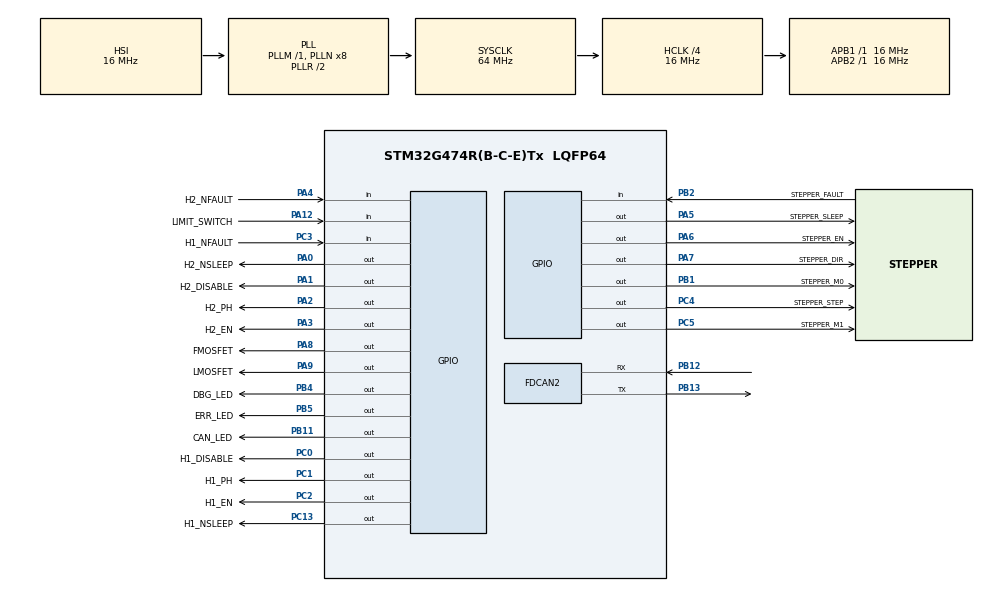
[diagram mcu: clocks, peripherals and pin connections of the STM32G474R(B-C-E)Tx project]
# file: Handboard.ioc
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FDCAN2.AutoRetransmission=ENABLE
FDCAN2.CalculateBaudRateNominal=125000
FDCAN2.CalculateTimeBitNominal=8000
FDCAN2.CalculateTimeQuantumNominal=250.0
FDCAN2.NominalPrescaler=4
FDCAN2.NominalSyncJumpWidth=4
FDCAN2.NominalTimeSeg1=27
FDCAN2.NominalTimeSeg2=4
FDCAN2.StdFiltersNbr=4
Mcu.Family=STM32G4
Mcu.Name=STM32G474R(B-C-E)Tx
Mcu.Package=LQFP64
NVIC.PriorityGroup=NVIC_PRIORITYGROUP_4
NVIC.TIM3_IRQn=true\:0\:0\:false\:false\:true\:true\:true\:true
PA0.GPIO_Label=H2_NSLEEP
PA0.Signal=GPIO_Output
PA1.GPIO_Label=H2_DISABLE
PA1.Signal=GPIO_Output
PA12.GPIO_Label=LIMIT_SWITCH
PA12.Signal=GPIO_Input
PA13.Mode=Serial_Wire
PA13.Signal=SYS_JTMS-SWDIO
PA14.Mode=Serial_Wire
PA14.Signal=SYS_JTCK-SWCLK
PA2.GPIO_Label=H2_PH
PA2.Signal=GPIO_Output
PA3.GPIO_Label=H2_EN
PA3.Signal=GPIO_Output
PA4.GPIO_Label=H2_NFAULT
PA4.GPIO_PuPd=GPIO_PULLUP
PA4.Signal=GPIO_Input
PA5.GPIO_Label=STEPPER_SLEEP
PA5.Signal=GPIO_Output
PA6.GPIO_Label=STEPPER_EN
PA6.Signal=GPIO_Output
PA7.GPIO_Label=STEPPER_DIR
PA7.Signal=GPIO_Output
PA8.GPIO_Label=FMOSFET
PA8.Signal=GPIO_Output
PA9.GPIO_Label=LMOSFET
PA9.Signal=GPIO_Output
PB1.GPIO_Label=STEPPER_M0
PB1.Signal=GPIO_Output
PB11.GPIO_Label=CAN_LED
PB11.PinState=GPIO_PIN_SET
PB11.Signal=GPIO_Output
PB12.Mode=FDCAN_Activate
PB12.Signal=FDCAN2_RX
PB13.Mode=FDCAN_Activate
PB13.Signal=FDCAN2_TX
PB2.GPIO_Label=STEPPER_FAULT
PB2.GPIO_PuPd=GPIO_PULLUP
PB2.Signal=GPIO_Input
PB4.GPIO_Label=DBG_LED
PB4.Signal=GPIO_Output
PB5.GPIO_Label=ERR_LED
PB5.Signal=GPIO_Output
PC0.GPIO_Label=H1_DISABLE
PC0.Signal=GPIO_Output
PC1.GPIO_Label=H1_PH
PC1.Signal=GPIO_Output
PC13.GPIO_Label=H1_NSLEEP
PC13.Signal=GPIO_Output
PC2.GPIO_Label=H1_EN
PC2.Signal=GPIO_Output
PC3.GPIO_Label=H1_NFAULT
PC3.GPIO_PuPd=GPIO_PULLUP
PC3.Signal=GPIO_Input
PC4.GPIO_Label=STEPPER_STEP
PC4.Signal=GPIO_Output
PC5.GPIO_Label=STEPPER_M1
PC5.Signal=GPIO_Output
ProjectManager.HeapSize=0x200
ProjectManager.StackSize=0x400
ProjectManager.TargetToolchain=STM32CubeIDE
RCC.ADC12Freq_Value=64000000
RCC.ADC345Freq_Value=64000000
RCC.AHBCLKDivider=RCC_SYSCLK_DIV4
RCC.AHBFreq_Value=16000000
RCC.APB1Freq_Value=16000000
RCC.APB1TimFreq_Value=16000000
RCC.APB2Freq_Value=16000000
RCC.APB2TimFreq_Value=16000000
RCC.CortexFreq_Value=16000000
RCC.EXTERNAL_CLOCK_VALUE=12288000
RCC.HCLKFreq_Value=16000000
RCC.HSE_VALUE=8000000
RCC.HSI48_VALUE=48000000
RCC.HSI_VALUE=16000000
RCC.LSE_VALUE=32768
RCC.SYSCLKFreq_VALUE=64000000
RCC.SYSCLKSource=RCC_SYSCLKSOURCE_PLLCLK
RCC.USBFreq_Value=64000000
RCC.VCOOutputFreq_Value=128000000
TIM3.PeriodNoDither=499
TIM3.Prescaler=15
VP_SYS_VS_DBSignals.Mode=DisableDeadBatterySignals
VP_TIM3_VS_ClockSourceINT.Mode=Internal
board=custom

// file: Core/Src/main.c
/* USER CODE BEGIN Header */
/**
 ******************************************************************************
 * @file           : main.c
 * @brief          : Main program body
 ******************************************************************************
 * @attention
 *
 * Copyright (c) 2026 STMicroelectronics.
 * All rights reserved.
 *
 * This software is licensed under terms that can be found in the LICENSE file
 * in the root directory of this software component.
 * If no LICENSE file comes with this software, it is provided AS-IS.
 *
 ******************************************************************************
 */
/* USER CODE END Header */
#include "main.h"

/* USER CODE BEGIN Includes */
#include "../../Libraries/CAN26/CAN26.h"
/* USER CODE END Includes */

/* USER CODE BEGIN PD */
#define HEARTBEAT_INTERVAL_MS 500

#define STEP_TIM      htim3
#define STEPPER_WAKE_DELAY_MS 2     // DRV8425 wakes in 1.2 ms max
#define SLEEP_TIMEOUT_MS      1000

/* Need to verify the timeout ms amount */
#define HEARTBEAT_INTERVAL_MS 500

#define STEP_TIM              htim3
#define STEPPER_WAKE_DELAY_MS 2     // DRV8425 wakes in 1.2 ms max
#define SLEEP_TIMEOUT_MS      1000

/* Need to verify the timeout ms amount */
#define CAN_TIMEOUT_MS        1000
#define ACTUATOR_TIMEOUT_MS   500
#define LIMIT_SWITCH_DEBOUNCE_MS 50

#define DIR_OPEN      GPIO_PIN_SET
#define DIR_CLOSE     GPIO_PIN_RESET
#define STEPS_PER_REV 200  // placeholder: full steps per rev x microstep setting

#define MOTOR_ENABLE_LEVEL  GPIO_PIN_SET
#define MOTOR_DISABLE_LEVEL GPIO_PIN_RESET

#define LIMIT_SWITCH_PRESSED GPIO_PIN_SET

#define LASERS_PERIPH_ID    0x01
#define ACTUATOR1_PERIPH_ID 0x02
#define ACTUATOR2_PERIPH_ID 0x03
#define FLASLIGHT_PERIPH_ID 0x04

/* Old actuator pin defines for reference
 * I redid the pinout to match Altium, so CubeMX generates these pins in
 * main.h now as H1_* and H2_* (like H2_NSLEEP_Pin). Use those names whem
 * you rewrite the actuator functions.
 *
 * ACTUATOR1 was on PA0 to PA4, which the schematic calls H bridge 2,
 * and ACTUATOR2 was on PC13 and PC0 to PC3, which is H bridge 1.
 * Can you double check which actuator goes to which H bridge?
 *
 * #define ACTUATOR1_NSLEEP    GPIO_PIN_0
 * #define ACTUATOR1_DISABLE   GPIO_PIN_1
 * #define ACTUATOR1_PH        GPIO_PIN_2
 * #define ACTUATOR1_EN        GPIO_PIN_3
 * #define ACTUATOR1_NFAULT    GPIO_PIN_4
 * #define ACTUATOR1_PORT      GPIOA
 *
 * #define ACTUATOR2_NSLEEP    GPIO_PIN_13
 * #define ACTUATOR2_DISABLE   GPIO_PIN_0
 * #define ACTUATOR2_PH        GPIO_PIN_1
 * #define ACTUATOR2_EN        GPIO_PIN_2
 * #define ACTUATOR2_NFAULT    GPIO_PIN_3
 * #define ACTUATOR2_PORT      GPIOC
 */

/* USER CODE END PD */

FDCAN_HandleTypeDef hfdcan2;

TIM_HandleTypeDef htim3;

/* USER CODE BEGIN PV */
CANHandle_t CANHandle = &hfdcan2;
CANDevice_t thisCANDevice = { .peripheralDomain = 1, .powerDomain = 0,
		.motorDomain = 1, .deviceUUID = CAN_UUID_HAND };

CANDevice_t jetson = { .peripheralDomain = 0, .powerDomain = 0,
		.motorDomain = 0, .deviceUUID = CAN_UUID_JETSON };

const char *fwName = "hand";
uint16_t revision = 4;
CANPacket_t rxPacket;
CANPacket_t txPacket;

uint32_t last_heartbeat_time = 0;
uint32_t can_led_off_time = 0;

uint32_t last_can_rx_time = 0;
uint8_t can_timeout_active = 0;

uint32_t motor_enable_time = 0;
uint8_t motor_enabled = 0;

uint32_t actuator1_enable_time = 0;
uint8_t actuator1_active = 0;

uint32_t actuator2_enable_time = 0;
uint8_t actuator2_active = 0;

static uint8_t limit_triggered = 0;
static uint32_t limit_debounce_time = 0;
static volatile uint32_t steps_remaining = 0;

/* USER CODE END PV */

void SystemClock_Config(void);
static void MX_GPIO_Init(void);
static void MX_FDCAN2_Init(void);
static void MX_TIM3_Init(void);
/* USER CODE BEGIN PFP */
void Send_Heartbeat(void);
void Send_LimitSwitch_Alert(void);

void Stepper_On(int32_t steps);
void Stepper_Brake(void);
void Stepper_Sleep(void);

void Lasers_On(void);
void Lasers_Off(void);

void Flaslight_On(void);
void Flaslight_Off(void);

void Actuator1_Forward(void);
void Actuator1_Reverse(void);
void Actuator1_Brake(void);
void Actuator1_Off(void);

void Actuator2_Forward(void);
void Actuator2_Reverse(void);
void Actuator2_Brake(void);
void Actuator2_Off(void);

/* USER CODE END PFP */

int main(void) {

	/* MCU Configuration--------------------------------------------------------*/

	/* Reset of all peripherals, Initializes the Flash interface and the Systick. */
	HAL_Init();

	/* Configure the system clock */
	SystemClock_Config();

	/* Initialize all configured peripherals */
	MX_GPIO_Init();
	MX_FDCAN2_Init();
	MX_TIM3_Init();
	/* USER CODE BEGIN 2 */

	CANInit(CANHandle, &thisCANDevice);
	HAL_GPIO_WritePin(GPIOB, CAN_LED_Pin, GPIO_PIN_SET);
	Lasers_Off();
	Flaslight_Off();
	Actuator1_Off();
	Actuator2_Off();

	last_heartbeat_time = HAL_GetTick();

	/* USER CODE END 2 */

	/* Infinite loop */
	/* USER CODE BEGIN WHILE */
	while (1) {
		uint32_t current_tick = HAL_GetTick();

		if (can_led_off_time != 0) {
			if (current_tick >= can_led_off_time) {
				HAL_GPIO_WritePin(GPIOB, CAN_LED_Pin, GPIO_PIN_SET);
				can_led_off_time = 0;
			}
		}

		if ((current_tick - last_heartbeat_time) >= HEARTBEAT_INTERVAL_MS) {
			Send_Heartbeat();
			last_heartbeat_time = current_tick;
		}

		if ((current_tick - last_can_rx_time) >= CAN_TIMEOUT_MS
				&& !can_timeout_active) {
			can_timeout_active = 1;
			Stepper_Sleep();
			Lasers_Off();
			Flaslight_Off();
			Actuator1_Brake();
			Actuator2_Brake();
			actuator1_active = 0;
			actuator1_enable_time = 0;
			actuator2_active = 0;
			actuator2_enable_time = 0;
		}

		if (actuator1_active
				&& (current_tick - actuator1_enable_time) > ACTUATOR_TIMEOUT_MS) {
			Actuator1_Brake();
			actuator1_active = 0;
			actuator1_enable_time = 0;
		}

		if (actuator2_active
				&& (current_tick - actuator2_enable_time) > ACTUATOR_TIMEOUT_MS) {
			Actuator2_Brake();
			actuator2_active = 0;
			actuator2_enable_time = 0;
		}

		if (HAL_GPIO_ReadPin(LIMIT_SWITCH_GPIO_Port,
				LIMIT_SWITCH_Pin) == LIMIT_SWITCH_PRESSED) {
			if (!limit_triggered) {
				if (limit_debounce_time == 0) {
					limit_debounce_time = current_tick;
				} else if ((current_tick - limit_debounce_time)
						>= LIMIT_SWITCH_DEBOUNCE_MS) {
					limit_triggered = 1;
					Stepper_Brake();
					Send_LimitSwitch_Alert();
				}
			}
		} else {
			limit_debounce_time = 0;
			limit_triggered = 0;
		}

		if (CANPollAndReceive(CANHandle, &rxPacket)) {
			can_led_off_time = HAL_GetTick() + 20;
			HAL_GPIO_WritePin(GPIOB, CAN_LED_Pin, GPIO_PIN_RESET);

			last_can_rx_time = HAL_GetTick();
			can_timeout_active = 0;

			uint8_t ackReq = rxPacket.command & 0x80;
			bool failure = 1;
			CANDevice_t sender = { .peripheralDomain = 0, .powerDomain = 0,
					.motorDomain = 0, .deviceUUID = rxPacket.senderUUID };

			switch (rxPacket.command & 0x7F) {
			case (CAN_COMMAND_ID__VERSION_GET): {
				txPacket = CANUniversalPacket_FirmwareVersion(thisCANDevice,
						sender, fwName, revision);
				failure = CANSend(CANHandle, &txPacket);
				break;
			}

			case (CAN_COMMAND_ID__PWM_DUTY_CYCLE): {
				CANPeripheralPacket_SetPWMDutyCycle_Decoded_t pwmPacket =
						CANPeripheralPacket_SetPWMDutyCycle_Decode(&rxPacket);
				if (pwmPacket.peripheralID == LASERS_PERIPH_ID) {
					if (pwmPacket.dutyCycle > 0.0f) {
						Lasers_On();
					} else {
						Lasers_Off();
					}
					failure = 0;
				} else if (pwmPacket.peripheralID == FLASLIGHT_PERIPH_ID) {
					if (pwmPacket.dutyCycle > 0.0f) {
						Flaslight_On();
					} else {
						Flaslight_Off();
					}
					failure = 0;
				}
				break;
			}

			case (CAN_COMMAND_ID__E_STOP): {
				Stepper_Sleep();
				Lasers_Off();
				Flaslight_Off();
				Actuator1_Brake();
				Actuator2_Brake();
				actuator1_active = 0;
				actuator1_enable_time = 0;
				actuator2_active = 0;
				actuator2_enable_time = 0;
				failure = 0;
				break;
			}

			case (CAN_COMMAND_ID__STEPPER_DRIVE_REVS): {
				CANMotorPacket_Stepper_DriveRevolutions_Decoded_t revs_decoded =
						CANMotorPacket_Stepper_DriveRevolutions_Decode(
								&rxPacket);
				if (revs_decoded.numRevolutions > 0.0f) {
					Stepper_On(
							(int32_t) (revs_decoded.numRevolutions
									* STEPS_PER_REV));
					failure = 0;
				} else if (revs_decoded.numRevolutions < 0.0f) {
					if (limit_triggered) {
						Send_LimitSwitch_Alert();
						failure = 1;
					} else {
						Stepper_On(
								(int32_t) (revs_decoded.numRevolutions
										* STEPS_PER_REV));
						failure = 0;
					}
				} else {
					Stepper_Sleep();
					failure = 0;
				}
				break;
			}

			case (CAN_COMMAND_ID__LINEAR_ACTUATOR_CONTROL): {
				CANPeripheralPacket_SetLinearActuator_Decoded_t decoded =
						CANPeripheralPacket_SetLinearActuator_Decode(&rxPacket);
				if (decoded.peripheralID == ACTUATOR1_PERIPH_ID) {
					if (decoded.drive > 0) {
						Actuator1_Forward();
						actuator1_active = 1;
						actuator1_enable_time = HAL_GetTick();
					} else if (decoded.drive < 0) {
						Actuator1_Reverse();
						actuator1_active = 1;
						actuator1_enable_time = HAL_GetTick();
					} else {
						Actuator1_Brake();
						actuator1_active = 0;
						actuator1_enable_time = 0;
					}
					failure = 0;
				} else if (decoded.peripheralID == ACTUATOR2_PERIPH_ID) {
					if (decoded.drive > 0) {
						Actuator2_Forward();
						actuator2_active = 1;
						actuator2_enable_time = HAL_GetTick();
					} else if (decoded.drive < 0) {
						Actuator2_Reverse();
						actuator2_active = 1;
						actuator2_enable_time = HAL_GetTick();
					} else {
						Actuator2_Brake();
						actuator2_active = 0;
						actuator2_enable_time = 0;
					}
					failure = 0;
				}
				break;
			}
			}

			if (ackReq) {
				txPacket = CANUniversalPacket_Acknowledge(thisCANDevice, sender,
						failure, rxPacket.command);
				CANSend(CANHandle, &txPacket);
			}
		}

		/* USER CODE END WHILE */

		/* USER CODE BEGIN 3 */
		if (steps_remaining > 0) {
			motor_enable_time = HAL_GetTick(); // still stepping, keep the driver awake
		} else if (motor_enabled
				&& (HAL_GetTick() - motor_enable_time) > SLEEP_TIMEOUT_MS) {
			Stepper_Sleep();
		}
	}
	/* USER CODE END 3 */
}

void SystemClock_Config(void) {
	RCC_OscInitTypeDef RCC_OscInitStruct = { 0 };
	RCC_ClkInitTypeDef RCC_ClkInitStruct = { 0 };

	/** Configure the main internal regulator output voltage
	 */
	HAL_PWREx_ControlVoltageScaling(PWR_REGULATOR_VOLTAGE_SCALE1);

	/** Initializes the RCC Oscillators according to the specified parameters
	 * in the RCC_OscInitTypeDef structure.
	 */
	RCC_OscInitStruct.OscillatorType = RCC_OSCILLATORTYPE_HSI;
	RCC_OscInitStruct.HSIState = RCC_HSI_ON;
	RCC_OscInitStruct.HSICalibrationValue = RCC_HSICALIBRATION_DEFAULT;
	RCC_OscInitStruct.PLL.PLLState = RCC_PLL_ON;
	RCC_OscInitStruct.PLL.PLLSource = RCC_PLLSOURCE_HSI;
	RCC_OscInitStruct.PLL.PLLM = RCC_PLLM_DIV1;
	RCC_OscInitStruct.PLL.PLLN = 8;
	RCC_OscInitStruct.PLL.PLLP = RCC_PLLP_DIV2;
	RCC_OscInitStruct.PLL.PLLQ = RCC_PLLQ_DIV2;
	RCC_OscInitStruct.PLL.PLLR = RCC_PLLR_DIV2;
	if (HAL_RCC_OscConfig(&RCC_OscInitStruct) != HAL_OK) {
		Error_Handler();
	}

	/** Initializes the CPU, AHB and APB buses clocks
	 */
	RCC_ClkInitStruct.ClockType = RCC_CLOCKTYPE_HCLK | RCC_CLOCKTYPE_SYSCLK
			| RCC_CLOCKTYPE_PCLK1 | RCC_CLOCKTYPE_PCLK2;
	RCC_ClkInitStruct.SYSCLKSource = RCC_SYSCLKSOURCE_PLLCLK;
	RCC_ClkInitStruct.AHBCLKDivider = RCC_SYSCLK_DIV4;
	RCC_ClkInitStruct.APB1CLKDivider = RCC_HCLK_DIV1;
	RCC_ClkInitStruct.APB2CLKDivider = RCC_HCLK_DIV1;

	if (HAL_RCC_ClockConfig(&RCC_ClkInitStruct, FLASH_LATENCY_0) != HAL_OK) {
		Error_Handler();
	}
}

static void MX_FDCAN2_Init(void) {

	hfdcan2.Instance = FDCAN2;
	hfdcan2.Init.ClockDivider = FDCAN_CLOCK_DIV1;
	hfdcan2.Init.FrameFormat = FDCAN_FRAME_CLASSIC;
	hfdcan2.Init.Mode = FDCAN_MODE_NORMAL;
	hfdcan2.Init.AutoRetransmission = ENABLE;
	hfdcan2.Init.TransmitPause = DISABLE;
	hfdcan2.Init.ProtocolException = DISABLE;
	hfdcan2.Init.NominalPrescaler = 4;
	hfdcan2.Init.NominalSyncJumpWidth = 4;
	hfdcan2.Init.NominalTimeSeg1 = 27;
	hfdcan2.Init.NominalTimeSeg2 = 4;
	hfdcan2.Init.DataPrescaler = 1;
	hfdcan2.Init.DataSyncJumpWidth = 1;
	hfdcan2.Init.DataTimeSeg1 = 1;
	hfdcan2.Init.DataTimeSeg2 = 1;
	hfdcan2.Init.StdFiltersNbr = 4;
	hfdcan2.Init.ExtFiltersNbr = 0;
	hfdcan2.Init.TxFifoQueueMode = FDCAN_TX_FIFO_OPERATION;
	if (HAL_FDCAN_Init(&hfdcan2) != HAL_OK) {
		Error_Handler();
	}

}

static void MX_TIM3_Init(void) {

	TIM_ClockConfigTypeDef sClockSourceConfig = { 0 };
	TIM_MasterConfigTypeDef sMasterConfig = { 0 };

	htim3.Instance = TIM3;
	htim3.Init.Prescaler = 15;
	htim3.Init.CounterMode = TIM_COUNTERMODE_UP;
	htim3.Init.Period = 499;
	htim3.Init.ClockDivision = TIM_CLOCKDIVISION_DIV1;
	htim3.Init.AutoReloadPreload = TIM_AUTORELOAD_PRELOAD_DISABLE;
	if (HAL_TIM_Base_Init(&htim3) != HAL_OK) {
		Error_Handler();
	}
	sClockSourceConfig.ClockSource = TIM_CLOCKSOURCE_INTERNAL;
	if (HAL_TIM_ConfigClockSource(&htim3, &sClockSourceConfig) != HAL_OK) {
		Error_Handler();
	}
	sMasterConfig.MasterOutputTrigger = TIM_TRGO_RESET;
	sMasterConfig.MasterSlaveMode = TIM_MASTERSLAVEMODE_DISABLE;
	if (HAL_TIMEx_MasterConfigSynchronization(&htim3, &sMasterConfig)
			!= HAL_OK) {
		Error_Handler();
	}

}

static void MX_GPIO_Init(void) {
	GPIO_InitTypeDef GPIO_InitStruct = { 0 };

	/* GPIO Ports Clock Enable */
	__HAL_RCC_GPIOC_CLK_ENABLE();
	__HAL_RCC_GPIOA_CLK_ENABLE();
	__HAL_RCC_GPIOB_CLK_ENABLE();

	/*Configure GPIO pin Output Level */
	HAL_GPIO_WritePin(GPIOC,
			H1_NSLEEP_Pin | H1_DISABLE_Pin | H1_PH_Pin | H1_EN_Pin
					| STEPPER_STEP_Pin | STEPPER_M1_Pin, GPIO_PIN_RESET);

	/*Configure GPIO pin Output Level */
	HAL_GPIO_WritePin(GPIOA,
			H2_NSLEEP_Pin | H2_DISABLE_Pin | H2_PH_Pin | H2_EN_Pin
					| STEPPER_SLEEP_Pin | STEPPER_EN_Pin | STEPPER_DIR_Pin
					| FMOSFET_Pin | LMOSFET_Pin, GPIO_PIN_RESET);

	/*Configure GPIO pin Output Level */
	HAL_GPIO_WritePin(GPIOB, STEPPER_M0_Pin | DBG_LED_Pin | ERR_LED_Pin,
			GPIO_PIN_RESET);

	/*Configure GPIO pin Output Level */
	HAL_GPIO_WritePin(CAN_LED_GPIO_Port, CAN_LED_Pin, GPIO_PIN_SET);

	/*Configure GPIO pins : H1_NSLEEP_Pin H1_DISABLE_Pin H1_PH_Pin H1_EN_Pin
	 STEPPER_STEP_Pin STEPPER_M1_Pin */
	GPIO_InitStruct.Pin = H1_NSLEEP_Pin | H1_DISABLE_Pin | H1_PH_Pin | H1_EN_Pin
			| STEPPER_STEP_Pin | STEPPER_M1_Pin;
	GPIO_InitStruct.Mode = GPIO_MODE_OUTPUT_PP;
	GPIO_InitStruct.Pull = GPIO_NOPULL;
	GPIO_InitStruct.Speed = GPIO_SPEED_FREQ_LOW;
	HAL_GPIO_Init(GPIOC, &GPIO_InitStruct);

	/*Configure GPIO pin : H1_NFAULT_Pin */
	GPIO_InitStruct.Pin = H1_NFAULT_Pin;
	GPIO_InitStruct.Mode = GPIO_MODE_INPUT;
	GPIO_InitStruct.Pull = GPIO_PULLUP;
	HAL_GPIO_Init(H1_NFAULT_GPIO_Port, &GPIO_InitStruct);

	/*Configure GPIO pins : H2_NSLEEP_Pin H2_DISABLE_Pin H2_PH_Pin H2_EN_Pin
	 STEPPER_SLEEP_Pin STEPPER_EN_Pin STEPPER_DIR_Pin FMOSFET_Pin
	 LMOSFET_Pin */
	GPIO_InitStruct.Pin = H2_NSLEEP_Pin | H2_DISABLE_Pin | H2_PH_Pin | H2_EN_Pin
			| STEPPER_SLEEP_Pin | STEPPER_EN_Pin | STEPPER_DIR_Pin | FMOSFET_Pin
			| LMOSFET_Pin;
	GPIO_InitStruct.Mode = GPIO_MODE_OUTPUT_PP;
	GPIO_InitStruct.Pull = GPIO_NOPULL;
	GPIO_InitStruct.Speed = GPIO_SPEED_FREQ_LOW;
	HAL_GPIO_Init(GPIOA, &GPIO_InitStruct);

	/*Configure GPIO pin : H2_NFAULT_Pin */
	GPIO_InitStruct.Pin = H2_NFAULT_Pin;
	GPIO_InitStruct.Mode = GPIO_MODE_INPUT;
	GPIO_InitStruct.Pull = GPIO_PULLUP;
	HAL_GPIO_Init(H2_NFAULT_GPIO_Port, &GPIO_InitStruct);

	/*Configure GPIO pins : STEPPER_M0_Pin CAN_LED_Pin DBG_LED_Pin ERR_LED_Pin */
	GPIO_InitStruct.Pin = STEPPER_M0_Pin | CAN_LED_Pin | DBG_LED_Pin
			| ERR_LED_Pin;
	GPIO_InitStruct.Mode = GPIO_MODE_OUTPUT_PP;
	GPIO_InitStruct.Pull = GPIO_NOPULL;
	GPIO_InitStruct.Speed = GPIO_SPEED_FREQ_LOW;
	HAL_GPIO_Init(GPIOB, &GPIO_InitStruct);

	/*Configure GPIO pin : STEPPER_FAULT_Pin */
	GPIO_InitStruct.Pin = STEPPER_FAULT_Pin;
	GPIO_InitStruct.Mode = GPIO_MODE_INPUT;
	GPIO_InitStruct.Pull = GPIO_PULLUP;
	HAL_GPIO_Init(STEPPER_FAULT_GPIO_Port, &GPIO_InitStruct);

	/*Configure GPIO pin : LIMIT_SWITCH_Pin */
	GPIO_InitStruct.Pin = LIMIT_SWITCH_Pin;
	GPIO_InitStruct.Mode = GPIO_MODE_INPUT;
	GPIO_InitStruct.Pull = GPIO_NOPULL;
	HAL_GPIO_Init(LIMIT_SWITCH_GPIO_Port, &GPIO_InitStruct);

}

/* USER CODE BEGIN 4 */
void Stepper_On(int32_t steps) {
	if (steps == 0)
		return;
	GPIO_PinState direction = (steps > 0) ? DIR_OPEN : DIR_CLOSE;

	if (limit_triggered && direction == DIR_CLOSE)
		return;

	HAL_GPIO_WritePin(STEPPER_DIR_GPIO_Port, STEPPER_DIR_Pin, direction);

	if (!motor_enabled) {               // wake the driver up if it is asleep
		HAL_GPIO_WritePin(STEPPER_EN_GPIO_Port, STEPPER_EN_Pin, GPIO_PIN_SET); // ENABLE must be high to drive
		HAL_GPIO_WritePin(STEPPER_SLEEP_GPIO_Port, STEPPER_SLEEP_Pin,
				MOTOR_ENABLE_LEVEL);
		HAL_GPIO_WritePin(DBG_LED_GPIO_Port, DBG_LED_Pin, GPIO_PIN_RESET);
		motor_enabled = 1;
		HAL_Delay(STEPPER_WAKE_DELAY_MS);  // allow the driver to wake up
	}
	motor_enable_time = HAL_GetTick();        // reset the sleep timer

	HAL_TIM_Base_Stop_IT(&STEP_TIM);          // stop any previous move
	HAL_GPIO_WritePin(STEPPER_STEP_GPIO_Port, STEPPER_STEP_Pin, GPIO_PIN_RESET);
	steps_remaining = (steps > 0) ? steps : -steps;  // number of pulses to send
	__HAL_TIM_SET_COUNTER(&STEP_TIM, 0);
	__HAL_TIM_CLEAR_FLAG(&STEP_TIM, TIM_FLAG_UPDATE); // clear before starting the interrupt
	HAL_TIM_Base_Start_IT(&STEP_TIM);
}

void Stepper_Brake(void) {
	HAL_TIM_Base_Stop_IT(&STEP_TIM);   // stop pulses, driver stays on and holds
	HAL_GPIO_WritePin(STEPPER_STEP_GPIO_Port, STEPPER_STEP_Pin, GPIO_PIN_RESET);
	steps_remaining = 0;
}

void Stepper_Sleep(void) {
	Stepper_Brake();
	HAL_GPIO_WritePin(STEPPER_SLEEP_GPIO_Port, STEPPER_SLEEP_Pin,
			MOTOR_DISABLE_LEVEL);  // put driver to sleep
	HAL_GPIO_WritePin(DBG_LED_GPIO_Port, DBG_LED_Pin, GPIO_PIN_SET);
	motor_enabled = 0;
	motor_enable_time = 0;
}

void HAL_TIM_PeriodElapsedCallback(TIM_HandleTypeDef *htim) {
	if (htim == &STEP_TIM && steps_remaining > 0) {
		HAL_GPIO_TogglePin(STEPPER_STEP_GPIO_Port, STEPPER_STEP_Pin);
		if (HAL_GPIO_ReadPin(STEPPER_STEP_GPIO_Port, STEPPER_STEP_Pin)
				== GPIO_PIN_RESET) {
			steps_remaining--;         // pin just went low, one full pulse done
			if (steps_remaining == 0) {
				Stepper_Brake();              // all steps sent
			}
		}
	}
}

void Lasers_On(void) {
	HAL_GPIO_WritePin(LMOSFET_GPIO_Port, LMOSFET_Pin, GPIO_PIN_SET);
}

void Lasers_Off(void) {
	HAL_GPIO_WritePin(LMOSFET_GPIO_Port, LMOSFET_Pin, GPIO_PIN_RESET);
}

void Flaslight_On(void) {
	HAL_GPIO_WritePin(FMOSFET_GPIO_Port, FMOSFET_Pin, GPIO_PIN_SET);
}

void Flaslight_Off(void) {
	HAL_GPIO_WritePin(FMOSFET_GPIO_Port, FMOSFET_Pin, GPIO_PIN_RESET);
}

void Actuator1_Forward(void) {
	// TODO: rewrite for new H bridge driver (H1_ pins)
}

void Actuator1_Reverse(void) {
	// TODO: rewrite for new H bridge driver (H1_ pins)
}

void Actuator1_Brake(void) {
	// TODO: rewrite for new H bridge driver (H1_ pins)
}

void Actuator1_Off(void) {
	// TODO: rewrite for new H bridge driver (H1_ pins)
}

void Actuator2_Forward(void) {
	// TODO: rewrite for new H bridge driver (H2_ pins)
}

void Actuator2_Reverse(void) {
	// TODO: rewrite for new H bridge driver (H2_ pins)
}

void Actuator2_Brake(void) {
	// TODO: rewrite for new H bridge driver (H2_ pins)
}

void Actuator2_Off(void) {
	// TODO: rewrite for new H bridge driver (H2_ pins)
}

void Send_Heartbeat(void) {
	CANPacket_t heartbeat;
	heartbeat.device = jetson;
	heartbeat.priority = CAN_PRIORITY_LOW;
	heartbeat.command = CAN_COMMAND_ID__HEARTBEAT;
	heartbeat.senderUUID = ((CANDeviceUUID_t) thisCANDevice.deviceUUID);
	heartbeat.contentsLength = 5;
	uint32_t error = 0;
	uint8_t state = motor_enabled ? 1 : 0;
	CANStoreUInt32(heartbeat.contents + 0, error);
	heartbeat.contents[4] = state;
	CANSend(CANHandle, &heartbeat);
}

void Send_LimitSwitch_Alert(void) {
	CANPacket_t alert = CANMotorPacket_LimitSwitchAlert(thisCANDevice, jetson,
			0x01, true);
	CANSend(CANHandle, &alert);
}

/* USER CODE END 4 */

void Error_Handler(void) {
	__disable_irq();
	while (1) {
	}
}
